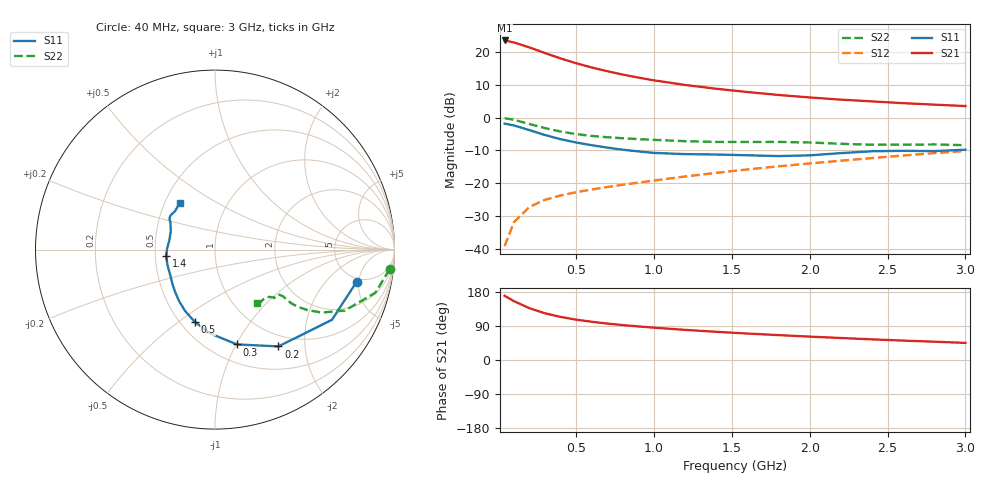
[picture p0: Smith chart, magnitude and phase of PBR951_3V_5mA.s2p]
! Filename:  PBR951D.S2P  Version:  3.0
! Philips part #:  PBR951  Date: July 1998
! Bias condition:  Vce=3V, Ic=5.0mA
#  MHz  S  MA  R 50
! Freq  S11  S21  S12  S22
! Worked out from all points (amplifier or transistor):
!   21 points, 40 MHz to 3 GHz, reference 50 ohm
!   highest |S21| = 23.5 dB at 40 MHz (marker M1)
!   |S21| within 3 dB of that: start of sweep to 250.9 MHz
!   unconditionally stable (mu >= 1): 1.116 GHz to 2.469 GHz
!   at 300 MHz: K = 0.48, MSG = 22.3 dB, |S12| = -25.0 dB
!   at 1 GHz: K = 0.97, MSG = 15.2 dB, |S12| = -19.1 dB
!   at 3 GHz: K = 0.96, MSG = 6.8 dB, |S12| = -10.1 dB
!   S11 on the Smith chart (normalised r, x): 40 MHz: 4.49, -4.68; 200 MHz: 0.82, -1.52; 300 MHz: 0.67, -1.01; 500 MHz: 0.59, -0.57; 1.4 GHz: 0.57, -0.04; 3 GHz: 0.60, +0.34
40  0.8092 -12.8  14.88 169.4  0.01109 84.4  0.9789 -6.4
100  0.7599 -31.0  13.88 155.3  0.02565 74.6  0.925 -15.1
200  0.6447 -56.8  11.65 136.6  0.04398 65.0  0.7991 -25.1
300  0.5424 -76.9  9.56 123.2  0.05628 60.4  0.6904 -30.5
400  0.469 -92.9  7.929 113.6  0.06545 58.7  0.6134 -33.3
500  0.4177 -105.7  6.699 106.5  0.07344 58.8  0.5612 -34.6
600  0.3803 -116.0  5.776 100.9  0.08063 59.8  0.5261 -35.1
700  0.3494 -125.0  5.067 96.1  0.08805 60.9  0.5024 -35.1
800  0.3246 -133.1  4.5 92.1  0.09504 62.3  0.4851 -34.9
900  0.306 -140.6  4.053 88.5  0.1027 63.7  0.4706 -34.6
1000  0.2903 -148.2  3.682 85.3  0.1104 64.7  0.4584 -34.4
1200  0.2783 -161.9  3.134 79.5  0.1272 66.7  0.4379 -35.1
1400  0.2744 -172.5  2.743 74.4  0.1444 68.1  0.4265 -36.9
1600  0.2673 179.1  2.446 69.8  0.1627 69.4  0.4258 -38.7
1800  0.2597 169.0  2.208 65.7  0.1816 70.2  0.427 -39.3
2000  0.2665 157.6  2.023 61.7  0.2008 70.7  0.4179 -39.6
2200  0.2882 149.4  1.874 58.0  0.221 70.7  0.3993 -41.2
2400  0.3078 145.5  1.762 54.5  0.2424 70.6  0.3865 -45.0
2600  0.3123 142.3  1.657 51.2  0.2649 70.4  0.3868 -49.4
2800  0.3093 135.9  1.574 48.3  0.2884 69.8  0.3905 -51.6
3000  0.3249 127.5  1.498 45.1  0.311 69.1  0.3804 -52.0
